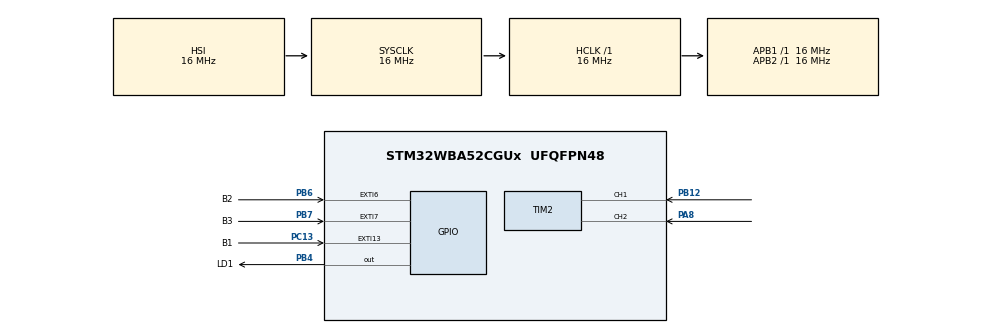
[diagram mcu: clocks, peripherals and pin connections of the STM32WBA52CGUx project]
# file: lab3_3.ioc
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CORTEX_M33_NS.userName=CORTEX_M33
Mcu.Family=STM32WBA
Mcu.Name=STM32WBA52CGUx
Mcu.Package=UFQFPN48
NUCLEO-WBA52CG.LD1=true
NVIC.EXTI13_IRQn=true\:0\:0\:false\:false\:true\:true\:true\:true
NVIC.EXTI7_IRQn=true\:0\:0\:false\:false\:true\:true\:true\:true
NVIC.PriorityGroup=NVIC_PRIORITYGROUP_4
NVIC.TIM2_IRQn=true\:4\:0\:true\:false\:true\:true\:true\:true
NVIC.TIM3_IRQn=true\:6\:0\:true\:false\:true\:true\:true\:true
OSC_IN.GPIO_Label=RCC_OSC_IN
OSC_IN.Mode=HSE-External-Oscillator
OSC_IN.Signal=RCC_OSC_IN
OSC_OUT.GPIO_Label=RCC_OSC_OUT
OSC_OUT.Mode=HSE-External-Oscillator
OSC_OUT.Signal=RCC_OSC_OUT
PA13\ (JTMS/SWDIO).GPIO_Label=DEBUG_JTMS-SWDIO
PA13\ (JTMS/SWDIO).Mode=Serial_Wire
PA13\ (JTMS/SWDIO).Signal=DEBUG_JTMS-SWDIO
PA14\ (JTCK/SWCLK).GPIO_Label=DEBUG_JTCK-SWCLK
PA14\ (JTCK/SWCLK).Mode=Serial_Wire
PA14\ (JTCK/SWCLK).Signal=DEBUG_JTCK-SWCLK
PA8.Signal=S_TIM2_CH2
PB12.Signal=S_TIM2_CH1
PB4\ (NJTRST).GPIO_Label=LD1
PB4\ (NJTRST).Signal=GPIO_Output
PB6.GPIO_Label=B2
PB6.GPIO_PuPd=GPIO_PULLUP
PB6.Signal=GPXTI6
PB7.GPIO_Label=B3
PB7.GPIO_PuPd=GPIO_PULLUP
PB7.Signal=GPXTI7
PC13.GPIO_Label=B1
PC13.GPIO_PuPd=GPIO_PULLUP
PC13.Signal=GPXTI13
PC14-OSC32_IN.GPIO_Label=RCC_OSC32_IN
PC14-OSC32_IN.Signal=RCC_OSC32_IN
PC15-OSC32_OUT.GPIO_Label=RCC_OSC32_OUT
PC15-OSC32_OUT.Signal=RCC_OSC32_OUT
ProjectManager.HeapSize=0x200
ProjectManager.StackSize=0x400
ProjectManager.TargetToolchain=STM32CubeIDE
RCC.ADCFreq_Value=16000000
RCC.AHB5CLKDivider=DIV2
RCC.AHBFreq_Value=16000000
RCC.APB1Freq_Value=16000000
RCC.APB1TimFreq_Value=16000000
RCC.APB2Freq_Value=16000000
RCC.APB2TimFreq_Value=16000000
RCC.CortexFreq_Value=2000000
RCC.HCLKFreq_Value=16000000
RCC.HSE_VALUE=32000000
RCC.HSI_VALUE=16000000
RCC.LSE_VALUE=32768
RCC.PLLFRACN=0
RCC.PLLM=2
RCC.PLLN=8
RCC.PLLSourceVirtual=RCC_PLLSOURCE_HSE
RCC.PWR_Regulator_Voltage_Scale=PWR_REGULATOR_VOLTAGE_SCALE1
RCC.SYSCLKFreq_VALUE=16000000
RCC.VCOOutputFreq_Value=128000000
SH.S_TIM2_CH1.0=TIM2_CH1,Encoder_Interface
SH.S_TIM2_CH2.0=TIM2_CH2,Encoder_Interface
TIM2.EncoderMode=TIM_ENCODERMODE_TI12
TIM2.IC1Polarity=TIM_ICPOLARITY_FALLING
TIM2.IC2Polarity=TIM_ICPOLARITY_FALLING
TIM3.AutoReloadPreload=TIM_AUTORELOAD_PRELOAD_ENABLE
TIM3.PeriodNoDither=27499
TIM3.Prescaler=639
VP_CORTEX_M33_NS_VS_Hclk.Mode=Hclk_Mode
VP_ICACHE_VS_ICACHE.Mode=DirectMappedCache
VP_MEMORYMAP_VS_MEMORYMAP.Mode=CurAppReg
VP_NUCLEO-WBA52CG_VS_BSP_COMMON.Mode=COMMON
VP_PWR_VS_SECSignals.Mode=Security/Privilege
VP_TIM3_VS_ClockSourceINT.Mode=Internal
board=NUCLEO-WBA52CG

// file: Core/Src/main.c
/* USER CODE BEGIN Header */
/**
  ******************************************************************************
  * @file           : main.c
  * @brief          : Main program body
  ******************************************************************************
  * @attention
  *
  * Copyright (c) 2025 STMicroelectronics.
  * All rights reserved.
  *
  * This software is licensed under terms that can be found in the LICENSE file
  * in the root directory of this software component.
  * If no LICENSE file comes with this software, it is provided AS-IS.
  *
  ******************************************************************************
  */
/* USER CODE END Header */
#include "main.h"

TIM_HandleTypeDef htim2;
TIM_HandleTypeDef htim3;

/* USER CODE BEGIN PV */
#define MAX_ARR 49999
#define MIN_ARR 499
/* USER CODE END PV */

void SystemClock_Config(void);
static void MX_GPIO_Init(void);
static void MX_ICACHE_Init(void);
static void MX_TIM3_Init(void);
static void MX_TIM2_Init(void);

/* USER CODE BEGIN 0 */

volatile int32_t value = 27499;
volatile uint32_t prev_cnt = 0;

void HAL_TIM_IC_CaptureCallback(TIM_HandleTypeDef *htim)
{
	 if(htim == &htim2)
	    {
	        uint32_t cnt = __HAL_TIM_GET_COUNTER(&htim2);
	        int32_t diff = (int32_t)(cnt - prev_cnt);

	        if(diff > 0)
	        {
	            value = (value + 1000 < MAX_ARR) ? value + 1000 : MAX_ARR;
	        }
	        else if(diff < 0)
	        {
	            value = (value - 1000 > MIN_ARR) ? value - 1000 : MIN_ARR;
	        }

	        prev_cnt = cnt;

	        __HAL_TIM_SET_AUTORELOAD(&htim3, value);
	    }
}

void HAL_TIM_PeriodElapsedCallback(TIM_HandleTypeDef *htim)
{
	if (htim == &htim3)
    {
    	HAL_GPIO_TogglePin(LD1_GPIO_PORT, LD1_PIN);
    }
}
/* USER CODE END 0 */

int main(void)
{

  /* MCU Configuration--------------------------------------------------------*/

  /* Reset of all peripherals, Initializes the Flash interface and the Systick. */
  HAL_Init();

  /* Configure the system clock */
  SystemClock_Config();

  /* Initialize all configured peripherals */
  MX_GPIO_Init();
  MX_ICACHE_Init();
  MX_TIM3_Init();
  MX_TIM2_Init();
  /* USER CODE BEGIN 2 */
  HAL_TIM_Base_Start_IT(&htim3);
  HAL_TIM_Encoder_Start_IT(&htim2, TIM_CHANNEL_ALL);

  /* USER CODE END 2 */

  /* Initialize leds */
  BSP_LED_Init(LED_BLUE);

  /* Infinite loop */
  while (1)
  {

  }
}

void SystemClock_Config(void)
{
  RCC_OscInitTypeDef RCC_OscInitStruct = {0};
  RCC_ClkInitTypeDef RCC_ClkInitStruct = {0};

  /** Configure the main internal regulator output voltage
  */
  if (HAL_PWREx_ControlVoltageScaling(PWR_REGULATOR_VOLTAGE_SCALE1) != HAL_OK)
  {
    Error_Handler();
  }

  /** Initializes the CPU, AHB and APB busses clocks
  */
  RCC_OscInitStruct.OscillatorType = RCC_OSCILLATORTYPE_HSI;
  RCC_OscInitStruct.HSIState = RCC_HSI_ON;
  RCC_OscInitStruct.HSICalibrationValue = RCC_HSICALIBRATION_DEFAULT;
  RCC_OscInitStruct.PLL1.PLLState = RCC_PLL_NONE;
  if (HAL_RCC_OscConfig(&RCC_OscInitStruct) != HAL_OK)
  {
    Error_Handler();
  }

  /** Initializes the CPU, AHB and APB busses clocks
  */
  RCC_ClkInitStruct.ClockType = RCC_CLOCKTYPE_HCLK|RCC_CLOCKTYPE_SYSCLK
                              |RCC_CLOCKTYPE_PCLK1|RCC_CLOCKTYPE_PCLK2
                              |RCC_CLOCKTYPE_PCLK7|RCC_CLOCKTYPE_HCLK5;
  RCC_ClkInitStruct.SYSCLKSource = RCC_SYSCLKSOURCE_HSI;
  RCC_ClkInitStruct.AHBCLKDivider = RCC_SYSCLK_DIV1;
  RCC_ClkInitStruct.APB1CLKDivider = RCC_HCLK_DIV1;
  RCC_ClkInitStruct.APB2CLKDivider = RCC_HCLK_DIV1;
  RCC_ClkInitStruct.APB7CLKDivider = RCC_HCLK_DIV1;
  RCC_ClkInitStruct.AHB5_PLL1_CLKDivider = RCC_SYSCLK_PLL1_DIV1;
  RCC_ClkInitStruct.AHB5_HSEHSI_CLKDivider = RCC_SYSCLK_HSEHSI_DIV2;

  if (HAL_RCC_ClockConfig(&RCC_ClkInitStruct, FLASH_LATENCY_0) != HAL_OK)
  {
    Error_Handler();
  }
}

static void MX_ICACHE_Init(void)
{

  /** Enable instruction cache in 1-way (direct mapped cache)
  */
  if (HAL_ICACHE_ConfigAssociativityMode(ICACHE_1WAY) != HAL_OK)
  {
    Error_Handler();
  }
  if (HAL_ICACHE_Enable() != HAL_OK)
  {
    Error_Handler();
  }

}

static void MX_TIM2_Init(void)
{

  TIM_Encoder_InitTypeDef sConfig = {0};
  TIM_MasterConfigTypeDef sMasterConfig = {0};

  htim2.Instance = TIM2;
  htim2.Init.Prescaler = 0;
  htim2.Init.CounterMode = TIM_COUNTERMODE_UP;
  htim2.Init.Period = 4294967295;
  htim2.Init.ClockDivision = TIM_CLOCKDIVISION_DIV1;
  htim2.Init.AutoReloadPreload = TIM_AUTORELOAD_PRELOAD_DISABLE;
  sConfig.EncoderMode = TIM_ENCODERMODE_TI12;
  sConfig.IC1Polarity = TIM_ICPOLARITY_FALLING;
  sConfig.IC1Selection = TIM_ICSELECTION_DIRECTTI;
  sConfig.IC1Prescaler = TIM_ICPSC_DIV1;
  sConfig.IC1Filter = 0;
  sConfig.IC2Polarity = TIM_ICPOLARITY_FALLING;
  sConfig.IC2Selection = TIM_ICSELECTION_DIRECTTI;
  sConfig.IC2Prescaler = TIM_ICPSC_DIV1;
  sConfig.IC2Filter = 0;
  if (HAL_TIM_Encoder_Init(&htim2, &sConfig) != HAL_OK)
  {
    Error_Handler();
  }
  sMasterConfig.MasterOutputTrigger = TIM_TRGO_RESET;
  sMasterConfig.MasterSlaveMode = TIM_MASTERSLAVEMODE_DISABLE;
  if (HAL_TIMEx_MasterConfigSynchronization(&htim2, &sMasterConfig) != HAL_OK)
  {
    Error_Handler();
  }

}

static void MX_TIM3_Init(void)
{

  TIM_ClockConfigTypeDef sClockSourceConfig = {0};
  TIM_MasterConfigTypeDef sMasterConfig = {0};

  htim3.Instance = TIM3;
  htim3.Init.Prescaler = 639;
  htim3.Init.CounterMode = TIM_COUNTERMODE_UP;
  htim3.Init.Period = 27499;
  htim3.Init.ClockDivision = TIM_CLOCKDIVISION_DIV1;
  htim3.Init.AutoReloadPreload = TIM_AUTORELOAD_PRELOAD_ENABLE;
  if (HAL_TIM_Base_Init(&htim3) != HAL_OK)
  {
    Error_Handler();
  }
  sClockSourceConfig.ClockSource = TIM_CLOCKSOURCE_INTERNAL;
  if (HAL_TIM_ConfigClockSource(&htim3, &sClockSourceConfig) != HAL_OK)
  {
    Error_Handler();
  }
  sMasterConfig.MasterOutputTrigger = TIM_TRGO_RESET;
  sMasterConfig.MasterSlaveMode = TIM_MASTERSLAVEMODE_DISABLE;
  if (HAL_TIMEx_MasterConfigSynchronization(&htim3, &sMasterConfig) != HAL_OK)
  {
    Error_Handler();
  }

}

static void MX_GPIO_Init(void)
{
  GPIO_InitTypeDef GPIO_InitStruct = {0};

  /* GPIO Ports Clock Enable */
  __HAL_RCC_GPIOB_CLK_ENABLE();
  __HAL_RCC_GPIOA_CLK_ENABLE();
  __HAL_RCC_GPIOC_CLK_ENABLE();

  /*Configure GPIO pin Output Level */
  HAL_GPIO_WritePin(LD1_GPIO_Port, LD1_Pin, GPIO_PIN_RESET);

  /*Configure GPIO pin : B1_Pin */
  GPIO_InitStruct.Pin = B1_Pin;
  GPIO_InitStruct.Mode = GPIO_MODE_IT_RISING;
  GPIO_InitStruct.Pull = GPIO_PULLUP;
  HAL_GPIO_Init(B1_GPIO_Port, &GPIO_InitStruct);

  /*Configure GPIO pins : B3_Pin B2_Pin */
  GPIO_InitStruct.Pin = B3_Pin|B2_Pin;
  GPIO_InitStruct.Mode = GPIO_MODE_IT_RISING;
  GPIO_InitStruct.Pull = GPIO_PULLUP;
  HAL_GPIO_Init(GPIOB, &GPIO_InitStruct);

  /*Configure GPIO pin : LD1_Pin */
  GPIO_InitStruct.Pin = LD1_Pin;
  GPIO_InitStruct.Mode = GPIO_MODE_OUTPUT_PP;
  GPIO_InitStruct.Pull = GPIO_NOPULL;
  GPIO_InitStruct.Speed = GPIO_SPEED_FREQ_LOW;
  HAL_GPIO_Init(LD1_GPIO_Port, &GPIO_InitStruct);

  /* EXTI interrupt init*/
  HAL_NVIC_SetPriority(EXTI7_IRQn, 0, 0);
  HAL_NVIC_EnableIRQ(EXTI7_IRQn);

  HAL_NVIC_SetPriority(EXTI13_IRQn, 0, 0);
  HAL_NVIC_EnableIRQ(EXTI13_IRQn);

}

void Error_Handler(void)
{
  __disable_irq();
  while (1)
  {
  }
}
